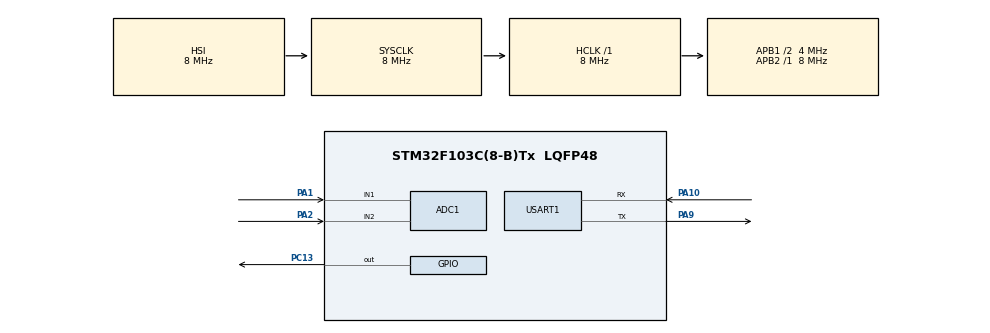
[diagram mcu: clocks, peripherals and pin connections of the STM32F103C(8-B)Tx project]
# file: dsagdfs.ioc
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ADC1.Channel-4\#ChannelRegularConversion=ADC_CHANNEL_1
ADC1.Channel-5\#ChannelRegularConversion=ADC_CHANNEL_2
ADC1.ContinuousConvMode=ENABLE
ADC1.DiscontinuousConvMode=DISABLE
ADC1.EnableInjectedConversion=DISABLE
ADC1.EnableRegularConversion=ENABLE
ADC1.ExternalTrigConv=ADC_SOFTWARE_START
ADC1.InjNumberOfConversion=1
ADC1.NbrOfConversion=2
ADC1.NbrOfConversionFlag=1
ADC1.Rank-4\#ChannelRegularConversion=1
ADC1.Rank-5\#ChannelRegularConversion=2
ADC1.SamplingTime-4\#ChannelRegularConversion=ADC_SAMPLETIME_1CYCLE_5
ADC1.SamplingTime-5\#ChannelRegularConversion=ADC_SAMPLETIME_1CYCLE_5
ADC1.master=1
Dma.ADC1.0.Direction=DMA_PERIPH_TO_MEMORY
Dma.ADC1.0.Instance=DMA1_Channel1
Dma.ADC1.0.MemDataAlignment=DMA_MDATAALIGN_WORD
Dma.ADC1.0.MemInc=DMA_MINC_ENABLE
Dma.ADC1.0.Mode=DMA_CIRCULAR
Dma.ADC1.0.PeriphDataAlignment=DMA_PDATAALIGN_WORD
Dma.ADC1.0.PeriphInc=DMA_PINC_DISABLE
Dma.ADC1.0.Priority=DMA_PRIORITY_LOW
Dma.Request0=ADC1
Mcu.Family=STM32F1
Mcu.Name=STM32F103C(8-B)Tx
Mcu.Package=LQFP48
NVIC.ADC1_2_IRQn=true\:3\:0\:true\:false\:true\:true\:true
NVIC.DMA1_Channel1_IRQn=true\:0\:0\:false\:false\:true\:false\:true
NVIC.PriorityGroup=NVIC_PRIORITYGROUP_4
NVIC.TIM3_IRQn=true\:1\:0\:true\:false\:true\:true\:true
PA1.Signal=ADCx_IN1
PA10.Mode=Asynchronous
PA10.Signal=USART1_RX
PA13.Mode=Serial_Wire
PA13.Signal=SYS_JTMS-SWDIO
PA14.Mode=Serial_Wire
PA14.Signal=SYS_JTCK-SWCLK
PA2.Signal=ADCx_IN2
PA9.Mode=Asynchronous
PA9.Signal=USART1_TX
PC13-TAMPER-RTC.GPIO_ModeDefaultOutputPP=GPIO_MODE_OUTPUT_OD
PC13-TAMPER-RTC.GPIO_Speed=GPIO_SPEED_FREQ_HIGH
PC13-TAMPER-RTC.PinState=GPIO_PIN_RESET
PC13-TAMPER-RTC.Signal=GPIO_Output
ProjectManager.HeapSize=0x200
ProjectManager.StackSize=0x400
ProjectManager.TargetToolchain=MDK-ARM V5
RCC.AHBFreq_Value=8000000
RCC.APB1CLKDivider=RCC_HCLK_DIV2
RCC.APB1Freq_Value=4000000
RCC.APB1TimFreq_Value=8000000
RCC.APB2Freq_Value=8000000
RCC.APB2TimFreq_Value=8000000
RCC.HCLKFreq_Value=8000000
RCC.PLLMUL=RCC_PLL_MUL9
RCC.SYSCLKFreq_VALUE=8000000
RCC.USBFreq_Value=36000000
SH.ADCx_IN1.0=ADC1_IN1,IN1
SH.ADCx_IN2.0=ADC1_IN2,IN2
TIM3.AutoReloadPreload=TIM_AUTORELOAD_PRELOAD_ENABLE
TIM3.CounterMode=TIM_COUNTERMODE_UP
TIM3.Period=5000
TIM3.Prescaler=8
TIM3.TIM_MasterOutputTrigger=TIM_TRGO_RESET
USART1.VirtualMode=VM_ASYNC
VP_TIM3_VS_ClockSourceINT.Mode=Internal
board=custom

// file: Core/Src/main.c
/* USER CODE BEGIN Header */
/**
  ******************************************************************************
  * @file           : main.c
  * @brief          : Main program body
  ******************************************************************************
  * @attention
  *
  * <h2><center>&copy; Copyright (c) 2020 STMicroelectronics.
  * All rights reserved.</center></h2>
  *
  * This software component is licensed by ST under BSD 3-Clause license,
  * the "License"; You may not use this file except in compliance with the
  * License. You may obtain a copy of the License at:
  *                        opensource.org/licenses/BSD-3-Clause
  *
  ******************************************************************************
  */
/* USER CODE END Header */
#include "main.h"
#include "adc.h"
#include "dma.h"
#include "tim.h"
#include "usart.h"
#include "gpio.h"

/* USER CODE BEGIN Includes */
#include "mpu6050.h"
/* USER CODE END Includes */

void SystemClock_Config(void);

/* USER CODE BEGIN 0 */

uint32_t temp[2] = {0}, i;
uint8_t ecg[2] = {0};
uint8_t bcg[2] = {0};
uint8_t data[8] = {0};
//TIM_HandleTypeDef htim3;

/* USER CODE END 0 */

int main(void)
{

  /* MCU Configuration--------------------------------------------------------*/

  /* Reset of all peripherals, Initializes the Flash interface and the Systick. */
  HAL_Init();

  /* Configure the system clock */
  SystemClock_Config();

  /* Initialize all configured peripherals */
  MX_GPIO_Init();
  MX_DMA_Init();
  MX_TIM3_Init();
  MX_USART1_UART_Init();
  MX_ADC1_Init();
  /* USER CODE BEGIN 2 */

//	HAL_ADC_Start(&hadc1);

	MpuInit();
	HAL_Delay(100);
	MpuGetData();
	HAL_Delay(100);

	HAL_TIM_Base_Start_IT(&htim3);
	HAL_Delay(100);  //一定要加，否则初始化DMA会失败

	HAL_ADC_Start_DMA(&hadc1, (uint32_t*)&temp, 2);

  data[0] = 0xAA; 	//串口传输校验头
	data[1] = 0x00;
	data[6] = 0x0F; 	//串口传输校验尾
	data[7] = 0x03;

  /* USER CODE END 2 */

  /* Infinite loop */
  while (1)
  {

    /* USER CODE BEGIN 3 */
//		HAL_Delay(1000);
//		HAL_GPIO_TogglePin(GPIOC, GPIO_PIN_13);

  }
  /* USER CODE END 3 */
}

void SystemClock_Config(void)
{
  RCC_OscInitTypeDef RCC_OscInitStruct = {0};
  RCC_ClkInitTypeDef RCC_ClkInitStruct = {0};
  RCC_PeriphCLKInitTypeDef PeriphClkInit = {0};

  /** Initializes the RCC Oscillators according to the specified parameters
  * in the RCC_OscInitTypeDef structure.
  */
  RCC_OscInitStruct.OscillatorType = RCC_OSCILLATORTYPE_HSI;
  RCC_OscInitStruct.HSIState = RCC_HSI_ON;
  RCC_OscInitStruct.HSICalibrationValue = RCC_HSICALIBRATION_DEFAULT;
  RCC_OscInitStruct.PLL.PLLState = RCC_PLL_NONE;
  if (HAL_RCC_OscConfig(&RCC_OscInitStruct) != HAL_OK)
  {
    Error_Handler();
  }
  /** Initializes the CPU, AHB and APB buses clocks
  */
  RCC_ClkInitStruct.ClockType = RCC_CLOCKTYPE_HCLK|RCC_CLOCKTYPE_SYSCLK
                              |RCC_CLOCKTYPE_PCLK1|RCC_CLOCKTYPE_PCLK2;
  RCC_ClkInitStruct.SYSCLKSource = RCC_SYSCLKSOURCE_HSI;
  RCC_ClkInitStruct.AHBCLKDivider = RCC_SYSCLK_DIV1;
  RCC_ClkInitStruct.APB1CLKDivider = RCC_HCLK_DIV2;
  RCC_ClkInitStruct.APB2CLKDivider = RCC_HCLK_DIV1;

  if (HAL_RCC_ClockConfig(&RCC_ClkInitStruct, FLASH_LATENCY_0) != HAL_OK)
  {
    Error_Handler();
  }
  PeriphClkInit.PeriphClockSelection = RCC_PERIPHCLK_ADC;
  PeriphClkInit.AdcClockSelection = RCC_ADCPCLK2_DIV2;
  if (HAL_RCCEx_PeriphCLKConfig(&PeriphClkInit) != HAL_OK)
  {
    Error_Handler();
  }
}

/* USER CODE BEGIN 4 */

void HAL_TIM_PeriodElapsedCallback(TIM_HandleTypeDef* htim)
{
//		ecg[0] = (uint8_t)(temp[0] >> 8);
//		ecg[1] = (uint8_t)(temp[0]);
//
//		bcg[0] = (uint8_t)(temp[1] >> 8);
//		bcg[1] = (uint8_t)(temp[1]);

	/* 使用单次采集的方法 */
//		uint8_t i=0;
//
//		for(i=0;i<2;i++)

//		{

//		HAL_ADC_Start(&hadc1);

//		HAL_ADC_PollForConversion(&hadc1,0xffff);

//		temp[i]=HAL_ADC_GetValue(&hadc1);

//		}
//		HAL_ADC_Stop(&hadc1);
//

		/* 采用 DMA 连续采集  */
		data[0] = 0xAA; 	//串口传输校验头
		data[1] = 0x00;
		data[6] = 0x0F; 	//串口传输校验尾
		data[7] = 0x03;

//	  data[2] = (uint8_t)(temp[0] >> 8);
//		data[3] = (uint8_t)(temp[0]);
//
//		data[4] = (uint8_t)(temp[1] >> 8);
//		data[5] = (uint8_t)(temp[1]);
		MpuGetData();
		data[2] = (uint8_t)(accelStruct.accelX >> 8);
		data[3] = (uint8_t)(accelStruct.accelX);

		data[4] = (uint8_t)(temp[1] >> 8);
		data[5] = (uint8_t)(temp[1]);

    HAL_GPIO_TogglePin(GPIOC, GPIO_PIN_13);
//		HAL_UART_Transmit(&huart1, "\r\nUART Transmit\r\n", 17, 10);

		HAL_UART_Transmit(&huart1, data, 8, 10);
//		HAL_UART_Transmit(&huart1, accelStruct.accelX, 8, 10);

		HAL_ADC_Start_DMA(&hadc1, (uint32_t*)&temp, 3);

}

/* USER CODE END 4 */

void Error_Handler(void)
{
  __disable_irq();
  while (1)
  {
  }
}

/************************ (C) COPYRIGHT STMicroelectronics *****END OF FILE****/
